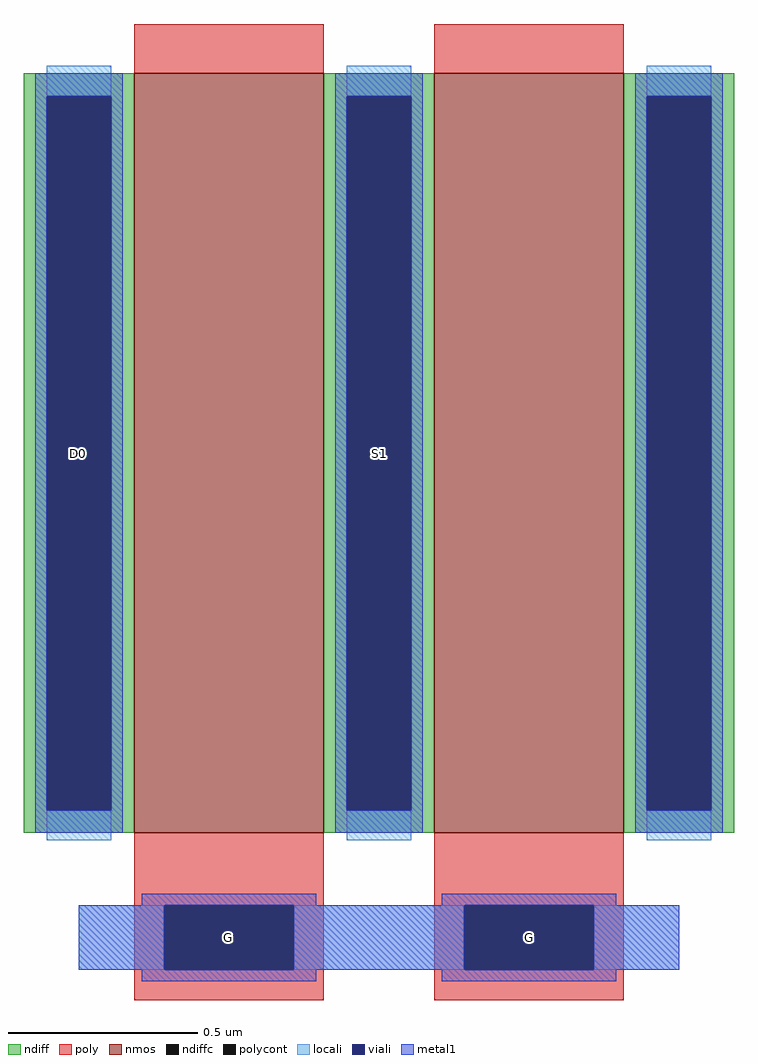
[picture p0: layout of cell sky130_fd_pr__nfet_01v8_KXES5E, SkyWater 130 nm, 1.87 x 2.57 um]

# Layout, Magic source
magic
tech sky130A
magscale 1 2
<< nmos >>
rect -129 -169 -29 231
rect 29 -169 129 231
<< ndiff >>
rect -187 219 -129 231
rect -187 -157 -175 219
rect -141 -157 -129 219
rect -187 -169 -129 -157
rect -29 219 29 231
rect -29 -157 -17 219
rect 17 -157 29 219
rect -29 -169 29 -157
rect 129 219 187 231
rect 129 -157 141 219
rect 175 -157 187 219
rect 129 -169 187 -157
<< ndiffc >>
rect -175 -157 -141 219
rect -17 -157 17 219
rect 141 -157 175 219
<< poly >>
rect -129 231 -29 257
rect 29 231 129 257
rect -129 -207 -29 -169
rect -129 -241 -113 -207
rect -45 -241 -29 -207
rect -129 -257 -29 -241
rect 29 -207 129 -169
rect 29 -241 45 -207
rect 113 -241 129 -207
rect 29 -257 129 -241
<< polycont >>
rect -113 -241 -45 -207
rect 45 -241 113 -207
<< locali >>
rect -175 219 -141 235
rect -175 -173 -141 -157
rect -17 219 17 235
rect -17 -173 17 -157
rect 141 219 175 235
rect 141 -173 175 -157
rect -158 -241 -113 -207
rect -45 -241 45 -207
rect 113 -241 158 -207
<< viali >>
rect -175 -157 -141 219
rect -17 -157 17 219
rect 141 -157 175 219
rect -113 -241 -45 -207
rect 45 -241 113 -207
<< metal1 >>
rect -181 219 -135 231
rect -181 -157 -175 219
rect -141 -157 -135 219
rect -181 -169 -135 -157
rect -23 219 23 231
rect -23 -157 -17 219
rect 17 -157 23 219
rect -23 -169 23 -157
rect 135 219 181 231
rect 135 -157 141 219
rect 175 -157 181 219
rect 135 -169 181 -157
rect -125 -207 -33 -201
rect 33 -207 125 -201
rect -158 -241 -113 -207
rect -45 -241 45 -207
rect 113 -241 158 -207
rect -125 -247 -33 -241
rect 33 -247 125 -241
<< labels >>
rlabel ndiffc -158 31 -158 31 0 D0
port 1 nsew
rlabel polycont -79 -224 -79 -224 0 G
port 2 nsew
rlabel ndiffc 0 31 0 31 0 S1
port 3 nsew
rlabel polycont 79 -224 79 -224 0 G
port 2 nsew
<< properties >>
string gencell sky130_fd_pr__nfet_01v8
string library sky130
string parameters w 2 l 0.5 m 1 nf 2 diffcov 100 polycov 100 guard 0 glc 1 grc 1 gtc 1 gbc 1 tbcov 100 rlcov 100 topc 0 botc 1 poverlap 0 doverlap 1 lmin 0.15 wmin 0.42 class mosfet compatible {sky130_fd_pr__nfet_01v8 sky130_fd_pr__nfet_01v8_lvt  sky130_fd_bs_flash__special_sonosfet_star  sky130_fd_pr__nfet_g5v0d10v5 sky130_fd_pr__nfet_05v0_nvt  sky130_fd_pr__nfet_03v3_nvt} full_metal 1 conn_gates 1 viasrc 100 viadrn 100 viagate 100 viagb 0 viagr 0 viagl 0 viagt 0 doports 1
<< end >>
